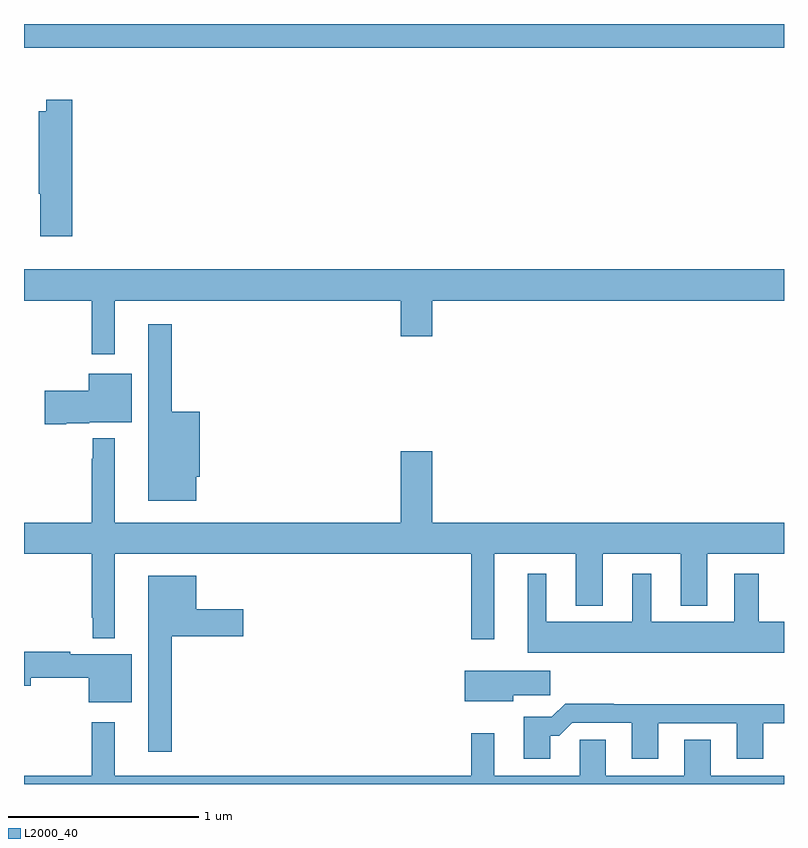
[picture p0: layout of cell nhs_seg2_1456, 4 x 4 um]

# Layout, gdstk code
import gdstk
lib = gdstk.Library(unit=1e-6, precision=1e-09)
def R(c, l, rs):  # rectangles x0, y0, x1, y1
    for r in rs: c.add(gdstk.rectangle(r[:2], r[2:], *l))
def P(c, l, *ps):  # polygons
    for p in ps: c.add(gdstk.Polygon(p, *l))
L2000_40 = (2000, 40)

nhs_seg2_1456 = lib.new_cell('nhs_seg2_1456')
R(nhs_seg2_1456, L2000_40, [(187,607.676,191,607.8)])
P(nhs_seg2_1456, L2000_40, [(187.253,607.402),(187.118,607.402),(187.118,607.342),(187.078,607.342),(187.078,606.907),(187.085,606.907),(187.085,606.684),(187.253,606.684)],
  [(187.477,606.344),(188.984,606.344),(188.984,606.156),(189.148,606.156),(189.148,606.344),(191,606.344),(191,606.508),(187,606.508),(187,606.344),(187.356,606.344),(187.356,606.063),(187.477,606.063)],
  [(187.906,605.418),(187.924,605.418),(187.924,605.758),(187.777,605.758),(187.777,606.22),(187.655,606.22),(187.655,605.291),(187.906,605.291)],
  [(187.222,605.699),(187.344,605.699),(187.344,605.705),(187.567,605.705),(187.567,605.959),(187.34,605.959),(187.34,605.871),(187.11,605.871),(187.11,605.693),(187.222,605.693)],
  [(189.475,605.012),(189.905,605.012),(189.905,604.739),(190.045,604.739),(190.045,605.012),(190.457,605.012),(190.457,604.739),(190.597,604.739),(190.597,605.012),(191,605.012),(191,605.176),(189.148,605.176),(189.148,605.551),(188.984,605.551),(188.984,605.176),(187.477,605.176),(187.477,605.62),(187.363,605.62),(187.363,605.513),(187.356,605.513),(187.356,605.176),(187,605.176),(187,605.012),(187.356,605.012),(187.356,604.675),(187.362,604.675),(187.362,604.568),(187.477,604.568),(187.477,605.012),(189.354,605.012),(189.354,604.563),(189.475,604.563)],
  [(191,604.654),(190.867,604.654),(190.867,604.906),(190.739,604.906),(190.739,604.654),(190.3,604.654),(190.3,604.906),(190.202,604.906),(190.202,604.654),(189.748,604.654),(189.748,604.906),(189.65,604.906),(189.65,604.49),(191,604.49)],
  [(187.777,604.577),(188.155,604.577),(188.155,604.719),(187.906,604.719),(187.906,604.897),(187.655,604.897),(187.655,603.969),(187.777,603.969)],
  [(187.567,604.483),(187.244,604.483),(187.244,604.496),(187,604.496),(187,604.318),(187.036,604.318),(187.036,604.36),(187.34,604.36),(187.34,604.229),(187.567,604.229)],
  [(189.574,604.267),(189.769,604.267),(189.769,604.396),(189.32,604.396),(189.32,604.235),(189.574,604.235)],
  [(189.769,604.055),(189.818,604.055),(189.885,604.122),(190.199,604.122),(190.199,603.933),(190.339,603.933),(190.339,604.119),(190.751,604.119),(190.751,603.933),(190.891,603.933),(190.891,604.119),(191,604.119),(191,604.22),(190.103,604.22),(190.103,604.223),(189.848,604.223),(189.778,604.153),(189.629,604.153),(189.629,603.933),(189.769,603.933)],
  [(191,603.844),(190.615,603.844),(190.615,604.034),(190.475,604.034),(190.475,603.844),(190.063,603.844),(190.063,604.034),(189.924,604.034),(189.924,603.844),(189.475,603.844),(189.475,604.066),(189.354,604.066),(189.354,603.844),(187.477,603.844),(187.477,604.126),(187.356,604.126),(187.356,603.844),(187,603.844),(187,603.8),(191,603.8)])

lib.write_gds('nhs_seg2_1456.gds')
